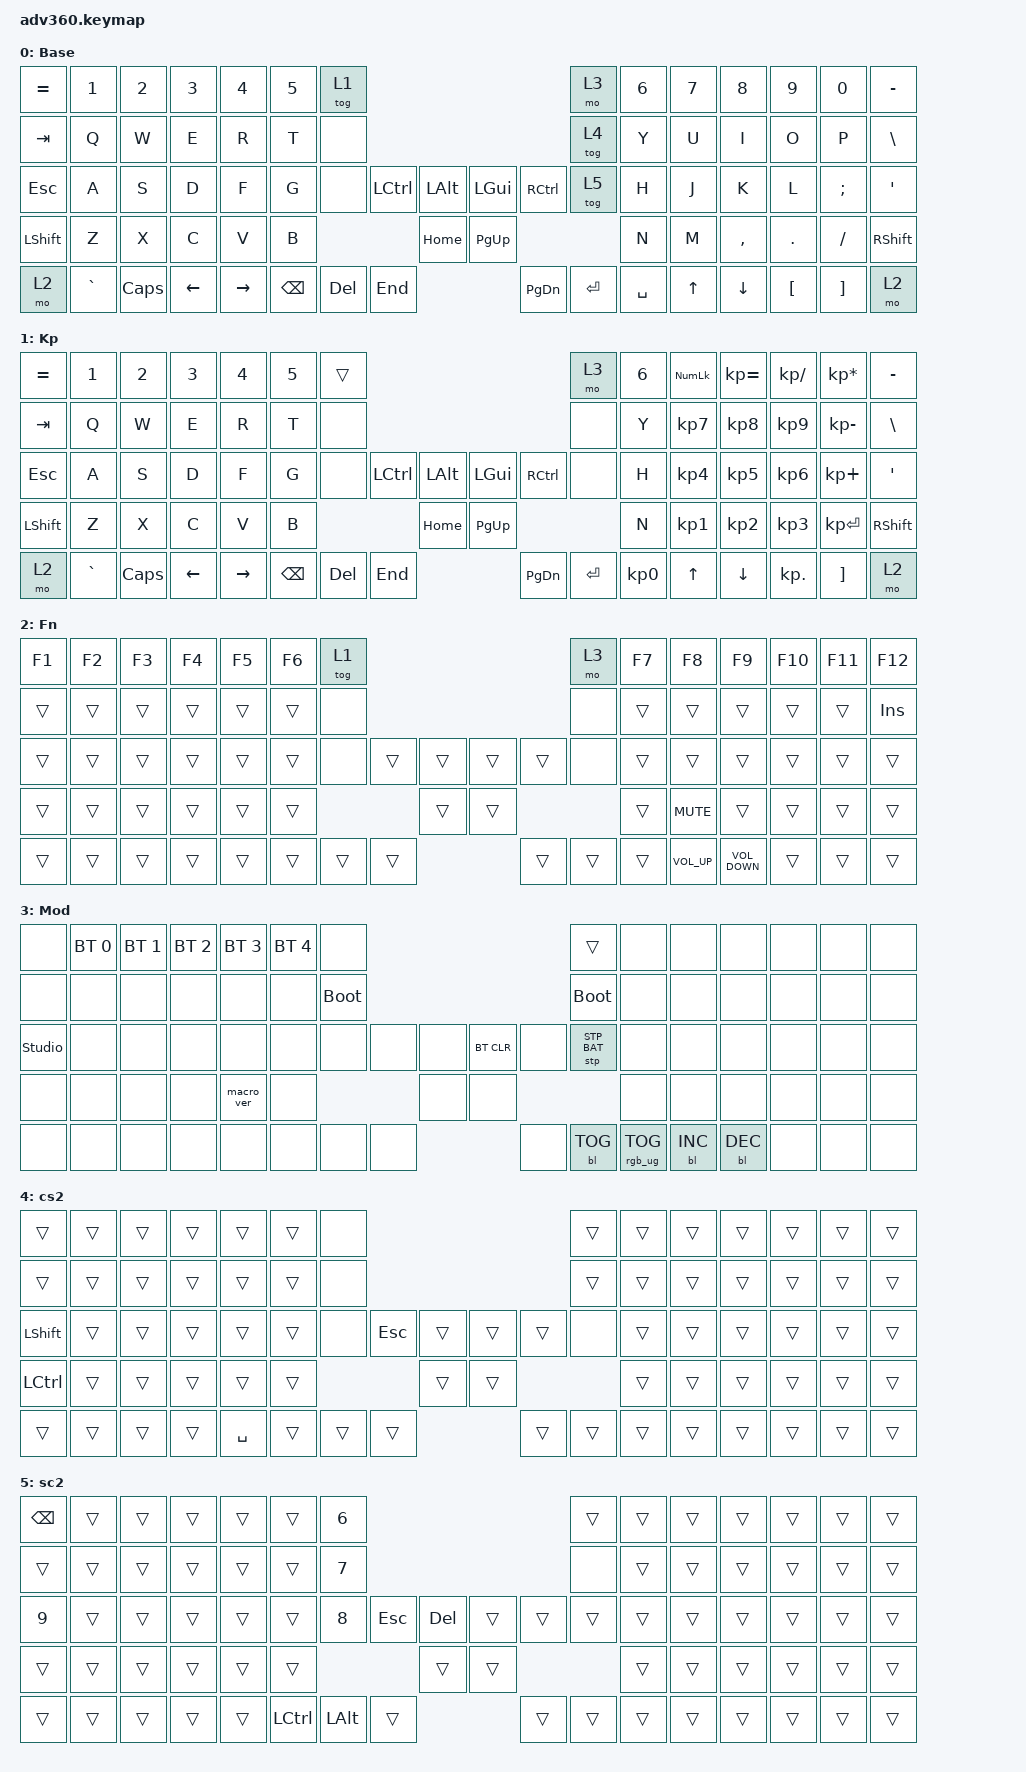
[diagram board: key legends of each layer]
#include <dt-bindings/zmk/stp.h>
#include <behaviors.dtsi>
#include <dt-bindings/zmk/backlight.h>
#include <dt-bindings/zmk/bt.h>
#include <dt-bindings/zmk/keys.h>
#include <dt-bindings/zmk/rgb.h>

/ {
    behaviors {
        #include "macros.dtsi"
      #include "version.dtsi"

        hm: homerow_mods {
            compatible = "zmk,behavior-hold-tap";
            label = "HOMEROW_MODS";
            #binding-cells = <2>;
            tapping-term-ms = <200>;
            quick_tap_ms = <175>;
            flavor = "tap-preferred";
            bindings = <&kp>, <&kp>;
        };
    };

    keymap {
        compatible = "zmk,keymap";

        default_layer {
            display-name = "Base";
            bindings = <
&kp EQUAL  &kp N1     &kp N2    &kp N3    &kp N4     &kp N5  &tog 1                                                                    &mo 3   &kp N6  &kp N7  &kp N8     &kp N9    &kp N0    &kp MINUS
&kp TAB    &kp Q      &kp W     &kp E     &kp R      &kp T   &none                                                                     &tog 4  &kp Y   &kp U   &kp I      &kp O     &kp P     &kp BSLH
&kp ESC    &kp A      &kp S     &kp D     &kp F      &kp G   &none             &kp LCTRL  &kp LALT    &kp LGUI   &kp RCTRL             &tog 5  &kp H   &kp J   &kp K      &kp L     &kp SEMI  &kp SQT
&kp LSHFT  &kp Z      &kp X     &kp C     &kp V      &kp B                                &kp HOME    &kp PG_UP                                &kp N   &kp M   &kp COMMA  &kp DOT   &kp FSLH  &kp RSHFT
&mo 2      &kp GRAVE  &kp CAPS  &kp LEFT  &kp RIGHT                  &kp BSPC  &kp DEL    &kp END     &kp PG_DN  &kp ENTER  &kp SPACE                  &kp UP  &kp DOWN   &kp LBKT  &kp RBKT  &mo 2
            >;
        };

        keypad {
            display-name = "Kp";
            bindings = <
&kp EQUAL  &kp N1     &kp N2    &kp N3    &kp N4     &kp N5  &trans                                                                    &mo 3  &kp N6  &kp KP_NUM  &kp KP_EQUAL  &kp KP_DIVIDE  &kp KP_MULTIPLY  &kp MINUS
&kp TAB    &kp Q      &kp W     &kp E     &kp R      &kp T   &none                                                                     &none  &kp Y   &kp KP_N7   &kp KP_N8     &kp KP_N9      &kp KP_MINUS     &kp BSLH
&kp ESC    &kp A      &kp S     &kp D     &kp F      &kp G   &none             &kp LCTRL  &kp LALT    &kp LGUI   &kp RCTRL             &none  &kp H   &kp KP_N4   &kp KP_N5     &kp KP_N6      &kp KP_PLUS      &kp SQT
&kp LSHFT  &kp Z      &kp X     &kp C     &kp V      &kp B                                &kp HOME    &kp PG_UP                               &kp N   &kp KP_N1   &kp KP_N2     &kp KP_N3      &kp KP_ENTER     &kp RSHFT
&mo 2      &kp GRAVE  &kp CAPS  &kp LEFT  &kp RIGHT                  &kp BSPC  &kp DEL    &kp END     &kp PG_DN  &kp ENTER  &kp KP_N0                 &kp UP      &kp DOWN      &kp KP_DOT     &kp RBKT         &mo 2
            >;
        };

        fn {
            display-name = "Fn";
            bindings = <
&kp F1  &kp F2  &kp F3  &kp F4  &kp F5  &kp F6  &tog 1                                                    &mo 3  &kp F7  &kp F8           &kp F9             &kp F10  &kp F11  &kp F12
&trans  &trans  &trans  &trans  &trans  &trans  &none                                                     &none  &trans  &trans           &trans             &trans   &trans   &kp INS
&trans  &trans  &trans  &trans  &trans  &trans  &none           &trans  &trans    &trans  &trans          &none  &trans  &trans           &trans             &trans   &trans   &trans
&trans  &trans  &trans  &trans  &trans  &trans                          &trans    &trans                         &trans  &kp C_MUTE       &trans             &trans   &trans   &trans
&trans  &trans  &trans  &trans  &trans                  &trans  &trans  &trans    &trans  &trans  &trans                 &kp C_VOLUME_UP  &kp C_VOLUME_DOWN  &trans   &trans   &trans
            >;
        };

        mod {
            display-name = "Mod";
            bindings = <
&none           &bt BT_SEL 0  &bt BT_SEL 1  &bt BT_SEL 2  &bt BT_SEL 3  &bt BT_SEL 4  &none                                                                        &trans        &none  &none       &none       &none  &none  &none
&none           &none         &none         &none         &none         &none         &bootloader                                                                  &bootloader   &none  &none       &none       &none  &none  &none
&studio_unlock  &none         &none         &none         &none         &none         &none               &none  &none    &bt BT_CLR  &none                        &stp STP_BAT  &none  &none       &none       &none  &none  &none
&none           &none         &none         &none         &macro_ver    &none                                    &none    &none                                                  &none  &none       &none       &none  &none  &none
&none           &none         &none         &none         &none                                    &none  &none  &none    &none       &bl BL_TOG  &rgb_ug RGB_TOG                       &bl BL_INC  &bl BL_DEC  &none  &none  &none
            >;
        };

        cs2 {
            display-name = "cs2";
            bindings = <
&trans      &trans  &trans  &trans  &trans     &trans  &none                                                     &trans  &trans  &trans  &trans  &trans  &trans  &trans
&trans      &trans  &trans  &trans  &trans     &trans  &none                                                     &trans  &trans  &trans  &trans  &trans  &trans  &trans
&kp LSHIFT  &trans  &trans  &trans  &trans     &trans  &none          &kp ESC  &trans    &trans  &trans          &none   &trans  &trans  &trans  &trans  &trans  &trans
&kp LCTRL   &trans  &trans  &trans  &trans     &trans                          &trans    &trans                          &trans  &trans  &trans  &trans  &trans  &trans
&trans      &trans  &trans  &trans  &kp SPACE                 &trans  &trans   &trans    &trans  &trans  &trans                  &trans  &trans  &trans  &trans  &trans
            >;
        };

        sc2 {
            display-name = "sc2";
            bindings = <
&kp BACKSPACE  &trans  &trans  &trans  &trans  &trans  &kp N6                                                                     &trans  &trans  &trans  &trans  &trans  &trans  &trans
&trans         &trans  &trans  &trans  &trans  &trans  &kp N7                                                                     &none   &trans  &trans  &trans  &trans  &trans  &trans
&kp N9         &trans  &trans  &trans  &trans  &trans  &kp N8                    &kp ESC       &kp DEL    &trans  &trans          &trans  &trans  &trans  &trans  &trans  &trans  &trans
&trans         &trans  &trans  &trans  &trans  &trans                                          &trans     &trans                          &trans  &trans  &trans  &trans  &trans  &trans
&trans         &trans  &trans  &trans  &trans                  &kp LEFT_CONTROL  &kp LEFT_ALT  &trans     &trans  &trans  &trans                  &trans  &trans  &trans  &trans  &trans
            >;
        };

        extra3 {
            display-name = "Cyan";
            status = "reserved";
        };

        extra4 {
            display-name = "Yellow";
            status = "reserved";
        };
    };
};
